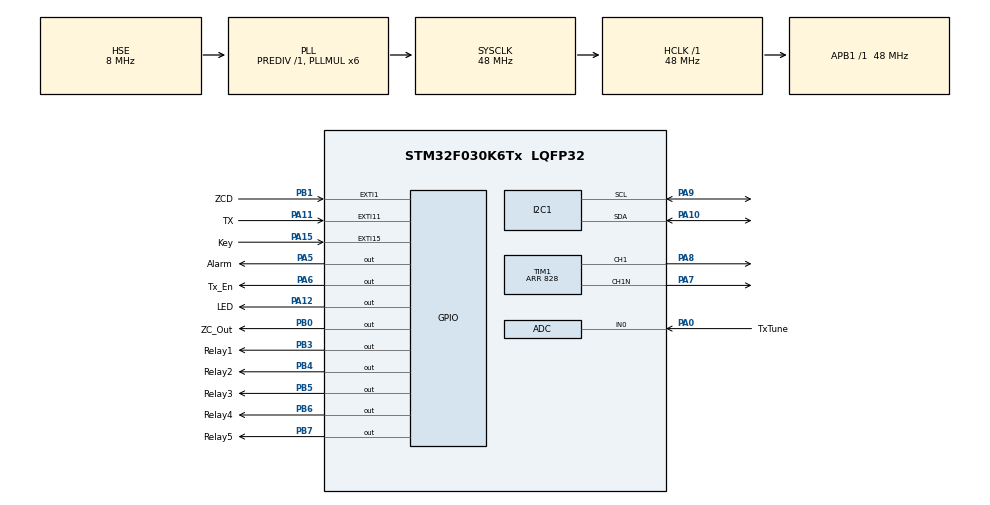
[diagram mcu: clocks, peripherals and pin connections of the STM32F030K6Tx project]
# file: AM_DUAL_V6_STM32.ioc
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ADC.ClockPrescaler=ADC_CLOCK_SYNC_PCLK_DIV4
ADC.ContinuousConvMode=ENABLE
ADC.DMAContinuousRequests=DISABLE
ADC.DiscontinuousConvMode=DISABLE
ADC.EOCSelection=ADC_EOC_SEQ_CONV
ADC.ExternalTrigConv=ADC_SOFTWARE_START
ADC.SamplingTime=ADC_SAMPLETIME_7CYCLES_5
Dma.ADC.0.Direction=DMA_PERIPH_TO_MEMORY
Dma.ADC.0.Instance=DMA1_Channel1
Dma.ADC.0.MemDataAlignment=DMA_MDATAALIGN_HALFWORD
Dma.ADC.0.MemInc=DMA_MINC_ENABLE
Dma.ADC.0.Mode=DMA_NORMAL
Dma.ADC.0.PeriphDataAlignment=DMA_PDATAALIGN_HALFWORD
Dma.ADC.0.PeriphInc=DMA_PINC_DISABLE
Dma.ADC.0.Priority=DMA_PRIORITY_LOW
Dma.I2C1_RX.1.Direction=DMA_PERIPH_TO_MEMORY
Dma.I2C1_RX.1.Instance=DMA1_Channel3
Dma.I2C1_RX.1.MemDataAlignment=DMA_MDATAALIGN_BYTE
Dma.I2C1_RX.1.MemInc=DMA_MINC_ENABLE
Dma.I2C1_RX.1.Mode=DMA_NORMAL
Dma.I2C1_RX.1.PeriphDataAlignment=DMA_PDATAALIGN_BYTE
Dma.I2C1_RX.1.PeriphInc=DMA_PINC_DISABLE
Dma.I2C1_RX.1.Priority=DMA_PRIORITY_LOW
Dma.I2C1_TX.2.Direction=DMA_MEMORY_TO_PERIPH
Dma.I2C1_TX.2.Instance=DMA1_Channel2
Dma.I2C1_TX.2.MemDataAlignment=DMA_MDATAALIGN_BYTE
Dma.I2C1_TX.2.MemInc=DMA_MINC_ENABLE
Dma.I2C1_TX.2.Mode=DMA_NORMAL
Dma.I2C1_TX.2.PeriphDataAlignment=DMA_PDATAALIGN_BYTE
Dma.I2C1_TX.2.PeriphInc=DMA_PINC_DISABLE
Dma.I2C1_TX.2.Priority=DMA_PRIORITY_LOW
Dma.Request0=ADC
Dma.Request1=I2C1_RX
Dma.Request2=I2C1_TX
I2C1.OwnAddress=5
Mcu.Family=STM32F0
Mcu.Name=STM32F030K6Tx
Mcu.Package=LQFP32
NVIC.ADC1_IRQn=true\:0\:0\:false\:false\:true\:true\:true\:true
NVIC.DMA1_Channel1_IRQn=true\:0\:0\:false\:false\:true\:false\:true\:true
NVIC.DMA1_Channel2_3_IRQn=true\:0\:0\:false\:false\:true\:false\:true\:true
NVIC.EXTI0_1_IRQn=true\:0\:0\:false\:false\:true\:true\:true\:true
NVIC.EXTI4_15_IRQn=true\:0\:0\:false\:false\:true\:true\:true\:true
NVIC.I2C1_IRQn=true\:0\:0\:false\:false\:true\:true\:true\:true
NVIC.TIM14_IRQn=true\:0\:0\:false\:false\:true\:true\:true\:true
NVIC.TIM16_IRQn=true\:0\:0\:false\:false\:true\:true\:true\:true
NVIC.TIM1_CC_IRQn=true\:0\:0\:false\:false\:true\:true\:true\:true
NVIC.TIM3_IRQn=true\:0\:0\:false\:false\:true\:true\:true\:true
PA0.GPIO_Label=TxTune
PA0.Mode=IN0
PA0.Signal=ADC_IN0
PA10.Mode=I2C
PA10.Signal=I2C1_SDA
PA11.GPIO_Label=TX
PA11.GPIO_PuPd=GPIO_PULLDOWN
PA11.Signal=GPXTI11
PA12.GPIO_Label=LED
PA12.Signal=GPIO_Output
PA13.Mode=Serial_Wire
PA13.Signal=SYS_SWDIO
PA14.Mode=Serial_Wire
PA14.Signal=SYS_SWCLK
PA15.GPIO_Label=Key
PA15.GPIO_ModeDefaultEXTI=GPIO_MODE_IT_FALLING
PA15.GPIO_PuPd=GPIO_PULLUP
PA15.Signal=GPXTI15
PA5.GPIO_Label=Alarm
PA5.Signal=GPIO_Output
PA6.GPIO_Label=Tx_En
PA6.GPIO_PuPd=GPIO_PULLUP
PA6.Signal=GPIO_Output
PA7.Mode=PWM Generation1 CH1 CH1N
PA7.Signal=TIM1_CH1N
PA8.Signal=S_TIM1_CH1
PA9.Mode=I2C
PA9.Signal=I2C1_SCL
PB0.GPIO_Label=ZC_Out
PB0.GPIO_ModeDefaultOutputPP=GPIO_MODE_OUTPUT_PP
PB0.GPIO_PuPd=GPIO_PULLUP
PB0.GPIO_Speed=GPIO_SPEED_FREQ_HIGH
PB0.Signal=GPIO_Output
PB1.GPIO_Label=ZCD
PB1.GPIO_ModeDefaultEXTI=GPIO_MODE_IT_RISING_FALLING
PB1.Signal=GPXTI1
PB3.GPIO_Label=Relay1
PB3.Signal=GPIO_Output
PB4.GPIO_Label=Relay2
PB4.Signal=GPIO_Output
PB5.GPIO_Label=Relay3
PB5.Signal=GPIO_Output
PB6.GPIO_Label=Relay4
PB6.Signal=GPIO_Output
PB7.GPIO_Label=Relay5
PB7.Signal=GPIO_Output
PF0-OSC_IN.Mode=HSE-External-Oscillator
PF0-OSC_IN.Signal=RCC_OSC_IN
PF1-OSC_OUT.Mode=HSE-External-Oscillator
PF1-OSC_OUT.Signal=RCC_OSC_OUT
ProjectManager.HeapSize=0x200
ProjectManager.StackSize=0x400
ProjectManager.TargetToolchain=MDK-ARM V5.32
RCC.AHBFreq_Value=48000000
RCC.APB1Freq_Value=48000000
RCC.APB1TimFreq_Value=48000000
RCC.EnbaleCSS=true
RCC.HCLKFreq_Value=48000000
RCC.PLLMUL=RCC_PLL_MUL6
RCC.PLLSourceVirtual=RCC_PLLSOURCE_HSE
RCC.SYSCLKFreq_VALUE=48000000
RCC.SYSCLKSource=RCC_SYSCLKSOURCE_PLLCLK
SH.S_TIM1_CH1.0=TIM1_CH1,PWM Generation1 CH1 CH1N
TIM1.Channel-PWM\ Generation1\ CH1\ CH1N=TIM_CHANNEL_1
TIM1.DeadTime=120
TIM1.OCIdleState_1=TIM_OCIDLESTATE_SET
TIM1.OCNIdleState_1=TIM_OCNIDLESTATE_SET
TIM1.Period=828
TIM1.Pulse-PWM\ Generation1\ CH1\ CH1N=414
TIM14.Period=48000-1
TIM14.Prescaler=2000-1
TIM16.Period=12000-1
TIM16.Prescaler=500-1
TIM3.Period=48-1
TIM3.Prescaler=100-1
VP_TIM14_VS_ClockSourceINT.Mode=Enable_Timer
VP_TIM16_VS_ClockSourceINT.Mode=Enable_Timer
VP_TIM1_VS_ClockSourceINT.Mode=Internal
VP_TIM3_VS_ClockSourceINT.Mode=Internal
board=custom

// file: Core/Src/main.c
/* USER CODE BEGIN Header */
/**
  ******************************************************************************
  * @file           : main.c
  * @brief          : Main program body
  ******************************************************************************
  * @attention
  *
  * Copyright (c) 2023 STMicroelectronics.
  * All rights reserved.
  *
  * This software is licensed under terms that can be found in the LICENSE file
  * in the root directory of this software component.
  * If no LICENSE file comes with this software, it is provided AS-IS.
  *
  ******************************************************************************
  */
/*
	I2C Register Table

	Function			F. Mode			Byte 0			Byte1

	Start PWM			Rec.			0				1
	Stop PWM			Rec.			0				2
	Change Relay		Rec.			1				1
	Send Relay State	Trs.			2				1
	Auto Tune			Rec.			2				2
	Send Tune Value		Trs.			4				1

*/

/* USER CODE END Header */
#include "main.h"
#include "adc.h"
#include "dma.h"
#include "i2c.h"
#include "tim.h"
#include "gpio.h"

/* USER CODE BEGIN Includes */
#include <stdio.h>
#include <math.h>
#include <stdlib.h>
#include <stdbool.h>

/* USER CODE END Includes */

/* USER CODE BEGIN PV */

uint8_t I2C_Address = 20;

uint8_t ReceiveData[2]={0.0};

uint16_t Tune[100];
uint8_t state=0 , MaxTuneIdx=0 , AdcConvCplt=0 ,AdcConvStart=0;
bool Autochange=false , completeSearch=false;
uint32_t bin, gray, temp1, count, count2=0, temp2;

uint8_t i=0,I2C;

uint8_t receivingBuffer[5] = {0};

float TuneVoltage3,TuneVoltage5,TuneCurrent,MaxTune;
float SumTuneCurrent , avgTune , AvgTuneCurrent;
uint16_t TransmitData , MaxTuneValue , TuneValue , SumTune;

uint16_t mVperAmp = 100; // use 100 for 20A Module and 66 for 30A Module
uint16_t ACSoffset = 2500;
float adcFilter;
char temp[50],len;

uint32_t debounce_delay=300,last_press_tick,PRESSED_KEY;

uint8_t	BUZcount,INTcount,AlarmCount;

uint32_t pulse;
uint16_t maxTune;

/* USER CODE END PV */

void SystemClock_Config(void);
/* USER CODE BEGIN PFP */

int bintogray(int n);
void swap(int* xp, int* yp);
void selectionSort(int arr[], int n);

/* USER CODE END PFP */

/* USER CODE BEGIN 0 */

uint8_t DelayStateMachine(uint16_t Delay)
{
	static uint32_t prevTick = 0;
	uint32_t currentTick = HAL_GetTick();
	if(currentTick - prevTick > Delay)
	{
		prevTick = currentTick;
		return 1;
	}
	else
		return 0;
}

void HAL_GPIO_EXTI_Callback(uint16_t GPIO_Pin)
{
	if(GPIO_Pin == ZCD_Pin)
	{
		HAL_GPIO_TogglePin(ZC_Out_GPIO_Port, ZC_Out_Pin);
	}

//	if(GPIO_Pin == TX_Pin)
//	{
//		HAL_GPIO_TogglePin(LED_GPIO_Port, LED_Pin);
////			NVIC_SystemReset();
//	}

	if(GPIO_Pin == Key_Pin)
	{
		last_press_tick = HAL_GetTick();
		PRESSED_KEY=1;
//		HAL_TIM_Base_Start_IT(&htim16);

	}

}

void HAL_TIM_PWM_PulseFinishedCallback(TIM_HandleTypeDef *htim)
{
	if(htim == &htim1)
	{
		pulse++;

		if(pulse >= 70)
		{
			HAL_GPIO_WritePin(Tx_En_GPIO_Port,Tx_En_Pin , 1);
			HAL_TIM_PWM_Stop_IT(&htim1 , TIM_CHANNEL_1);
			HAL_TIMEx_PWMN_Stop_IT(&htim1 , TIM_CHANNEL_1);
//			HAL_ADC_Stop_DMA(&hadc);
//			HAL_ADC_Start_DMA(&hadc,(uint32_t *)Tune,100);
			AdcConvStart = 0;
			pulse = 0;
		}

	}

}

void HAL_TIM_PeriodElapsedCallback(TIM_HandleTypeDef *htim)
{

	//=================Read From I2C - 1MHz===================//
	if(htim == &htim3)
	{
		HAL_I2C_Slave_Receive_DMA(&hi2c1,ReceiveData,2);
	}

	//=================Timer For Chenge Relay in Auto Tune - 0.5 Hz===================//
	if(htim == &htim14)
	{
	//		Autochange = true;
		if(Autochange == true)
		{

			if(state > 32)
			{
				Autochange = false;
				completeSearch = true;
				HAL_GPIO_WritePin(GPIOB , 0x1F<<3 , 0);
				HAL_GPIO_WritePin(LED_GPIO_Port,LED_Pin,1);
				state=0;
			}
			else
			{
				temp1=bintogray(state);// ^ bintogray((state+1)%32);
				HAL_GPIO_WritePin(GPIOB , 0x1F<<3 , 0);
				HAL_GPIO_WritePin(GPIOB,	temp1<<3 , 1);
				state++;
			}
		}
		else if(completeSearch == true)
		{
			if(i>5)
			{
				i=0;
				completeSearch = false;
				state = MaxTuneIdx;
				HAL_TIM_Base_Stop_IT(&htim14);
			}
			else
			{
				temp2 = (MaxTuneIdx >> i) & 0x01;
				HAL_GPIO_WritePin(GPIOB,	temp2<<(3+i) , 1);
				i++;
			}
		}
	}

	if(htim == &htim16)
	{

		AlarmCount++;
		if(AlarmCount > 29)
		{
			AlarmCount = 0;
			HAL_GPIO_WritePin(Alarm_GPIO_Port,Alarm_Pin , 0);
			HAL_TIM_Base_Stop_IT(&htim16);
		}
	}
}

//========================I2C Receive Callback Functions=====================//
void HAL_I2C_SlaveRxCpltCallback(I2C_HandleTypeDef *hi2c)
{
	receivingBuffer[ReceiveData[0]] = ReceiveData[1];
//	HAL_GPIO_TogglePin(LED_GPIO_Port, LED_Pin);
	//==================Change Tune Relay=====================//
	if(ReceiveData[0] == 2)
	{
		if(ReceiveData[1] == 128)
		{
			HAL_GPIO_WritePin(GPIOB , 0x1F<<3 , 0);
			state++;
			HAL_GPIO_WritePin(GPIOB,bintogray(state)<<3 , 1);
			ReceiveData[0] = 0;
			MaxTune = 0;
		}
		else
		{
			HAL_GPIO_WritePin(GPIOB , 0x1F<<3 , 0);
			state = ReceiveData[1];
			HAL_GPIO_WritePin(GPIOB,state<<3 , 1);
			ReceiveData[0] = 0;
			MaxTune = 0;
		}
	}
	//==================Send Tune Value======================//
	if(ReceiveData[0] == 4)
	{
		AdcConvStart = 1;
		HAL_I2C_Slave_Transmit_DMA(&hi2c1 , (uint8_t *)&MaxTuneValue , 1);
		ReceiveData[0] = 0;
		ReceiveData[1] = 0;
//		MaxTune = 0;
		receivingBuffer[4] = 0;
	}

	//==================Enable Tx Signal======================//
	if(receivingBuffer[1] == 1)
	{
		HAL_GPIO_WritePin(Tx_En_GPIO_Port,Tx_En_Pin , 0);
		HAL_TIM_PWM_Start_IT(&htim1 , TIM_CHANNEL_1);
		HAL_TIMEx_PWMN_Start_IT(&htim1 , TIM_CHANNEL_1);
		ReceiveData[0] = 0;
		ReceiveData[1] = 0;
		HAL_ADC_Start_DMA(&hadc,(uint32_t *)Tune,100);
		AdcConvStart = 1;
		receivingBuffer[1] = 0;
	}
	//=========================Alarm=========================//
	if(receivingBuffer[3] == 1)
	{
		HAL_GPIO_WritePin(Alarm_GPIO_Port,Alarm_Pin , 1);
		HAL_TIM_Base_Start_IT(&htim16);
		receivingBuffer[3] = 0;
	}
}

void HAL_I2C_SlaveTxCpltCallback(I2C_HandleTypeDef *hi2c)
{
//	HAL_GPIO_TogglePin(LED_GPIO_Port, LED_Pin);
}

void HAL_ADC_ConvCpltCallback(ADC_HandleTypeDef *hadc)
{
	AdcConvCplt = 1;
}

/* USER CODE END 0 */

int main(void)
{

  /* MCU Configuration--------------------------------------------------------*/

  /* Reset of all peripherals, Initializes the Flash interface and the Systick. */
  HAL_Init();

  /* Configure the system clock */
  SystemClock_Config();

  /* Initialize all configured peripherals */
  MX_GPIO_Init();
  MX_DMA_Init();
  MX_ADC_Init();
  MX_I2C1_Init();
  MX_TIM1_Init();
  MX_TIM3_Init();
  MX_TIM14_Init();
  MX_TIM16_Init();
  /* USER CODE BEGIN 2 */

	HAL_TIM_Base_Start_IT(&htim3);
	HAL_ADCEx_Calibration_Start(&hadc);

  /* USER CODE END 2 */

  /* Infinite loop */
  while (1)
  {

    /* USER CODE BEGIN 3 */

//		if(DelayStateMachine(200) == 1)
//		{
//			HAL_GPIO_TogglePin(LED_GPIO_Port, LED_Pin);
//		}

		//================Send Tune Relay Value===================//
//		if(receivingBuffer[2] == 1)
//		{
////			TransmitData = MaxTuneIdx;
//			HAL_I2C_Slave_Transmit_DMA(&hi2c1 , (uint8_t *)&state , 1);
//			receivingBuffer[2] = 0;
////			TransmitData = 0;
//		}

		//=======================Auto Tune========================//
//		if(receivingBuffer[2] == 2)
//		{
//			HAL_GPIO_WritePin(GPIOB , 0x1F<<3 , 0);
//			state = 0;
//			Autochange = 1;
//			receivingBuffer[2] = 0;
//		}

//		//=========================Alarm=========================//
//		if(receivingBuffer[3] == 1)
//		{
//			HAL_TIM_Base_Start_IT(&htim16);
//			receivingBuffer[3] = 0;
//		}

//		if(HAL_GetTick() - last_press_tick > debounce_delay  && PRESSED_KEY == 1)
//		{
//			if(HAL_GPIO_ReadPin(Key_GPIO_Port,Key_Pin) == 1)
//			{
////				HAL_GPIO_TogglePin(LED_GPIO_Port,LED_Pin);
////				I2C ^= 1;
//				HAL_GPIO_WritePin(GPIOB , 0x1F<<3 , 0);
//				if(state >= 32)
//					state = 0;
//				else
//					state++;
//				HAL_GPIO_WritePin(GPIOB,bintogray(state)<<3 , 1);
//			}
//			PRESSED_KEY = 0;
//		}

//		if(I2C == 1)
//			HAL_TIM_Base_Start_IT(&htim3);
//		else
//			HAL_TIM_Base_Stop_IT(&htim3);

		if(Autochange)
		{
			HAL_TIM_Base_Start_IT(&htim14);
			if(AdcConvStart == 1)
				HAL_ADC_Start_DMA(&hadc,(uint32_t *)Tune,50);

			if(AdcConvCplt == 1)
			{

//				selectionSort((int *)Tune , 50);

				for(int i = 0; i<50 ; i++)
					adcFilter = 0.7*adcFilter + 0.3*Tune[25];

				TuneVoltage3 = (adcFilter / 4095.0) * 3300.0;				//voltage in mV
				TuneVoltage5 = TuneVoltage3 * 5000.0 / 3300.0;
				TuneCurrent = (TuneVoltage5 - ACSoffset) / mVperAmp;
				TuneValue = (uint8_t)TuneCurrent;

				if(TuneCurrent < 0)
					TuneCurrent = TuneCurrent*(-1);

				if(TuneCurrent > MaxTune)
				{
					MaxTune = TuneCurrent;
					MaxTuneIdx = state-1;
				}

				AdcConvCplt = 0;
			}
		}

		else
		{
//			if(AdcConvStart == 1)
//				HAL_ADC_Start_DMA(&hadc,(uint32_t *)Tune,100);

			if(AdcConvCplt == 1)
			{
//				selectionSort((int *)Tune , 100);

//				for(int i = 0; i<100 ; i++)
//					adcFilter = 0.7*adcFilter + 0.3*Tune[50];

//				adcFilter = Tune[50];
				maxTune = 0;
				for(int i = 0; i<100 ; i++)
				{
					if(Tune[i] > 3000)
						Tune[i] = 0;
					adcFilter += Tune[i];
				}

				adcFilter = adcFilter/100;

				TuneVoltage5 = (adcFilter / 4095.0) * 5000.0;
				TuneCurrent = (TuneVoltage5 - ACSoffset) / mVperAmp;
				TuneValue = (uint8_t)TuneCurrent;

				if(TuneCurrent < 0)
					TuneCurrent = TuneCurrent*(-1);

//				if(TuneCurrent > 3)
//				{
//					HAL_GPIO_WritePin(Tx_En_GPIO_Port,Tx_En_Pin , 1);
//				}

				SumTuneCurrent += TuneCurrent;
				SumTune++;
//
				if(SumTune >= 20)
				{
					AvgTuneCurrent = SumTuneCurrent/20;
					MaxTune = AvgTuneCurrent*10;

					MaxTuneIdx = state;
					MaxTuneValue = (uint16_t)MaxTune;
					SumTuneCurrent = 0;
					SumTune = 0;
				}

				AdcConvCplt = 0;
			}

		}

  }
  /* USER CODE END 3 */
}

void SystemClock_Config(void)
{
  RCC_OscInitTypeDef RCC_OscInitStruct = {0};
  RCC_ClkInitTypeDef RCC_ClkInitStruct = {0};
  RCC_PeriphCLKInitTypeDef PeriphClkInit = {0};

  /** Initializes the RCC Oscillators according to the specified parameters
  * in the RCC_OscInitTypeDef structure.
  */
  RCC_OscInitStruct.OscillatorType = RCC_OSCILLATORTYPE_HSI|RCC_OSCILLATORTYPE_HSE;
  RCC_OscInitStruct.HSEState = RCC_HSE_ON;
  RCC_OscInitStruct.HSIState = RCC_HSI_ON;
  RCC_OscInitStruct.HSICalibrationValue = RCC_HSICALIBRATION_DEFAULT;
  RCC_OscInitStruct.PLL.PLLState = RCC_PLL_ON;
  RCC_OscInitStruct.PLL.PLLSource = RCC_PLLSOURCE_HSE;
  RCC_OscInitStruct.PLL.PLLMUL = RCC_PLL_MUL6;
  RCC_OscInitStruct.PLL.PREDIV = RCC_PREDIV_DIV1;
  if (HAL_RCC_OscConfig(&RCC_OscInitStruct) != HAL_OK)
  {
    Error_Handler();
  }

  /** Initializes the CPU, AHB and APB buses clocks
  */
  RCC_ClkInitStruct.ClockType = RCC_CLOCKTYPE_HCLK|RCC_CLOCKTYPE_SYSCLK
                              |RCC_CLOCKTYPE_PCLK1;
  RCC_ClkInitStruct.SYSCLKSource = RCC_SYSCLKSOURCE_PLLCLK;
  RCC_ClkInitStruct.AHBCLKDivider = RCC_SYSCLK_DIV1;
  RCC_ClkInitStruct.APB1CLKDivider = RCC_HCLK_DIV1;

  if (HAL_RCC_ClockConfig(&RCC_ClkInitStruct, FLASH_LATENCY_1) != HAL_OK)
  {
    Error_Handler();
  }
  PeriphClkInit.PeriphClockSelection = RCC_PERIPHCLK_I2C1;
  PeriphClkInit.I2c1ClockSelection = RCC_I2C1CLKSOURCE_HSI;
  if (HAL_RCCEx_PeriphCLKConfig(&PeriphClkInit) != HAL_OK)
  {
    Error_Handler();
  }

  /** Enables the Clock Security System
  */
  HAL_RCC_EnableCSS();
}

/* USER CODE BEGIN 4 */

int bintogray(int n)
{
    return n ^ (n >> 1);
}

void swap(int* xp, int* yp)
{
    int temp = *xp;
    *xp = *yp;
    *yp = temp;
}
void selectionSort(int arr[], int n)
{
    int i, j, min_idx;

    // One by one move boundary of unsorted subarray
    for (i = 0; i < n - 1; i++) {

        // Find the minimum element in unsorted array
        min_idx = i;
        for (j = i + 1; j < n; j++)
            if (arr[j] < arr[min_idx])
                min_idx = j;

        // Swap the found minimum element
        // with the first element
        swap(&arr[min_idx], &arr[i]);
    }
}

/* USER CODE END 4 */

void Error_Handler(void)
{
  __disable_irq();
  while (1)
  {
  }
}
